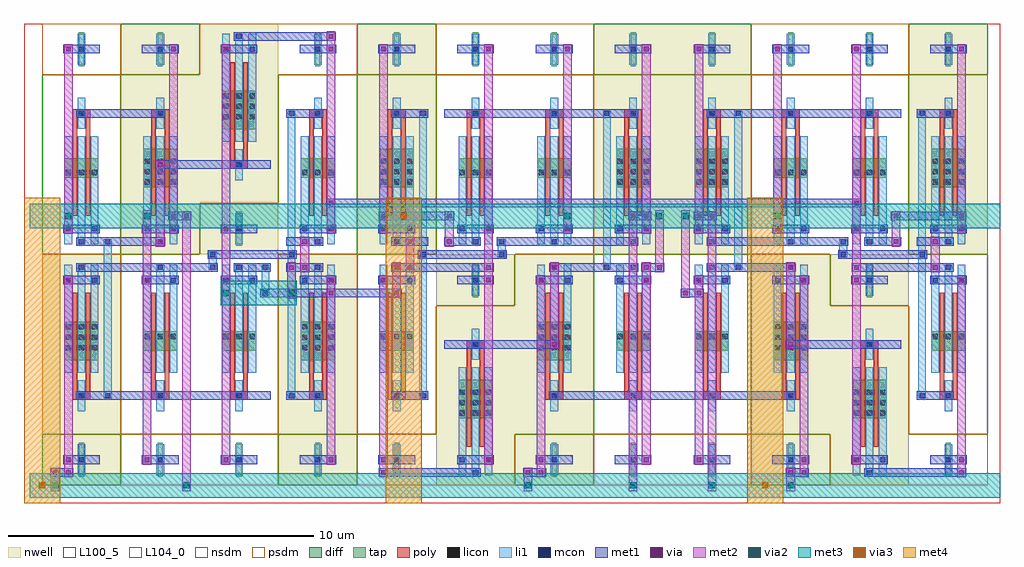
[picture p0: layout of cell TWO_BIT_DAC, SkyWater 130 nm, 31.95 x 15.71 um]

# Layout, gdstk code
import gdstk
lib = gdstk.Library(unit=1e-6, precision=1e-09)
def R(c, l, rs):  # rectangles x0, y0, x1, y1
    for r in rs: c.add(gdstk.rectangle(r[:2], r[2:], *l))
def A(c, l, x, y, w, h, nx, ny, dx, dy):  # array of equal rectangles
    R(c, l, [(x+i*dx, y+j*dy, x+i*dx+w, y+j*dy+h) for i in range(nx) for j in range(ny)])
nwell = (64, 20)
diff = (65, 20)
tap = (65, 44)
poly = (66, 20)
licon = (66, 44)
li1 = (67, 20)
mcon = (67, 44)
met1 = (68, 20)
via = (68, 44)
met2 = (69, 20)
via2 = (69, 44)
met3 = (70, 20)
via3 = (70, 44)
met4 = (71, 20)
nsdm = (93, 44)
psdm = (94, 20)
L100_5 = (100, 5)
L104_0 = (104, 0)

two_bit_dac = lib.new_cell('TWO_BIT_DAC')
R(two_bit_dac, nwell, [(0,0,2.58,7.56), (7.74,0,10.32,7.56), (12.9,0,15.48,7.56), (15.48,0,18.06,7.56), (23.22,0,25.8,7.56), (25.8,0,28.38,7.56), (2.58,7.56,5.16,15.12), (5.16,7.56,7.74,15.12), (10.32,7.56,12.9,15.12), (18.06,7.56,20.64,15.12), (20.64,7.56,23.22,15.12), (28.38,7.56,30.96,15.12)])
A(two_bit_dac, diff, 0.735, 4.095, 1.11, 1.26, 4, 1, 7.74, 0)
A(two_bit_dac, diff, 3.315, 9.765, 1.11, 1.26, 3, 1, 7.74, 0)
R(two_bit_dac, diff, [(13.635,2.205,14.745,3.465), (26.535,2.205,27.645,3.465), (3.315,4.41,4.425,5.04), (5.895,4.41,7.005,5.04), (11.055,4.41,12.165,5.04), (18.795,4.41,19.905,5.04), (21.375,4.41,22.485,5.04), (29.115,4.41,30.225,5.04), (21.375,9.765,22.485,11.025), (29.115,9.765,30.225,11.025), (0.735,10.08,1.845,10.71), (8.475,10.08,9.585,10.71), (13.635,10.08,14.745,10.71), (16.215,10.08,17.325,10.71), (23.955,10.08,25.065,10.71), (26.535,10.08,27.645,10.71), (5.895,11.655,7.005,12.915)])
A(two_bit_dac, tap, 1.205, 0.28, 0.17, 1.12, 5, 1, 2.58, 0)
A(two_bit_dac, tap, 16.685, 0.28, 0.17, 1.12, 4, 1, 2.58, 0)
A(two_bit_dac, tap, 8.945, 13.72, 0.17, 1.12, 9, 1, 2.58, 0)
R(two_bit_dac, tap, [(29.585,0.28,29.755,1.4), (14.105,6.16,14.275,7.28), (27.005,6.16,27.175,7.28), (6.365,7.84,6.535,8.96), (1.205,13.72,1.375,14.84), (3.785,13.72,3.955,14.84)])
A(two_bit_dac, poly, 1, 2.805, 0.58, 0.27, 5, 1, 2.58, 0)
A(two_bit_dac, poly, 16.48, 2.805, 0.58, 0.27, 4, 1, 2.58, 0)
A(two_bit_dac, poly, 8.74, 12.045, 0.58, 0.27, 9, 1, 2.58, 0)
R(two_bit_dac, poly, [(13.9,1.26,14.05,4.62), (14.33,1.26,14.48,4.62), (26.8,1.26,26.95,4.62), (27.23,1.26,27.38,4.62), (29.38,2.805,29.96,3.075), (1,2.94,1.15,6.3), (1.43,2.94,1.58,6.3), (3.58,2.94,3.73,6.3), (4.01,2.94,4.16,6.3), (6.16,2.94,6.31,6.3), (6.59,2.94,6.74,6.3), (8.74,2.94,8.89,6.3), (9.17,2.94,9.32,6.3), (11.32,2.94,11.47,6.3), (11.75,2.94,11.9,6.3), (16.48,2.94,16.63,6.3), (16.91,2.94,17.06,6.3), (19.06,2.94,19.21,6.3), (19.49,2.94,19.64,6.3), (21.64,2.94,21.79,6.3), (22.07,2.94,22.22,6.3), (24.22,2.94,24.37,6.3), (24.65,2.94,24.8,6.3), (29.38,2.94,29.53,6.3), (29.81,2.94,29.96,6.3), (13.9,4.485,14.48,4.755), (26.8,4.485,27.38,4.755), (1,8.82,1.15,12.18), (1.43,8.82,1.58,12.18), (3.58,8.82,3.73,12.18), (4.01,8.82,4.16,12.18), (8.74,8.82,8.89,12.18), (9.17,8.82,9.32,12.18), (11.32,8.82,11.47,12.18), (11.75,8.82,11.9,12.18), (13.9,8.82,14.05,12.18), (14.33,8.82,14.48,12.18), (16.48,8.82,16.63,12.18), (16.91,8.82,17.06,12.18), (19.06,8.82,19.21,12.18), (19.49,8.82,19.64,12.18), (21.64,8.82,21.79,12.18), (22.07,8.82,22.22,12.18), (24.22,8.82,24.37,12.18), (24.65,8.82,24.8,12.18), (26.8,8.82,26.95,12.18), (27.23,8.82,27.38,12.18), (29.38,8.82,29.53,12.18), (29.81,8.82,29.96,12.18), (6.16,10.365,6.74,10.635), (6.16,10.5,6.31,13.86), (6.59,10.5,6.74,13.86), (1,12.045,1.58,12.315), (3.58,12.045,4.16,12.315)])
A(two_bit_dac, licon, 1.205, 0.755, 0.17, 0.17, 5, 2, 2.58, 2.1)
A(two_bit_dac, licon, 16.685, 0.755, 0.17, 0.17, 4, 2, 2.58, 2.1)
A(two_bit_dac, licon, 13.675, 2.285, 0.17, 0.17, 3, 3, 0.43, 0.34)
A(two_bit_dac, licon, 26.575, 2.285, 0.17, 0.17, 3, 3, 0.43, 0.34)
A(two_bit_dac, licon, 0.775, 4.425, 0.17, 0.17, 3, 3, 0.43, 0.34)
A(two_bit_dac, licon, 8.515, 4.425, 0.17, 0.17, 3, 3, 0.43, 0.34)
A(two_bit_dac, licon, 16.255, 4.425, 0.17, 0.17, 3, 3, 0.43, 0.34)
A(two_bit_dac, licon, 23.995, 4.425, 0.17, 0.17, 3, 3, 0.43, 0.34)
A(two_bit_dac, licon, 3.355, 4.79, 0.17, 0.17, 3, 2, 0.43, 5.055)
A(two_bit_dac, licon, 5.935, 4.79, 0.17, 0.17, 3, 2, 0.43, 7.195)
A(two_bit_dac, licon, 11.095, 4.79, 0.17, 0.17, 3, 2, 0.43, 5.055)
A(two_bit_dac, licon, 18.835, 4.79, 0.17, 0.17, 3, 2, 0.43, 5.055)
A(two_bit_dac, licon, 21.415, 4.79, 0.17, 0.17, 3, 2, 0.43, 5.055)
A(two_bit_dac, licon, 29.155, 4.79, 0.17, 0.17, 3, 2, 0.43, 5.055)
A(two_bit_dac, licon, 0.775, 10.16, 0.17, 0.17, 3, 1, 0.43, 0)
A(two_bit_dac, licon, 8.515, 10.16, 0.17, 0.17, 3, 1, 0.43, 0)
A(two_bit_dac, licon, 13.675, 10.16, 0.17, 0.17, 3, 1, 0.43, 0)
A(two_bit_dac, licon, 16.255, 10.16, 0.17, 0.17, 3, 1, 0.43, 0)
A(two_bit_dac, licon, 23.995, 10.16, 0.17, 0.17, 3, 1, 0.43, 0)
A(two_bit_dac, licon, 26.575, 10.16, 0.17, 0.17, 3, 1, 0.43, 0)
A(two_bit_dac, licon, 3.355, 10.185, 0.17, 0.17, 3, 2, 0.43, 0.34)
A(two_bit_dac, licon, 11.095, 10.185, 0.17, 0.17, 3, 2, 0.43, 0.34)
A(two_bit_dac, licon, 18.835, 10.185, 0.17, 0.17, 3, 2, 0.43, 0.34)
A(two_bit_dac, licon, 21.415, 10.185, 0.17, 0.17, 3, 2, 0.43, 0.34)
A(two_bit_dac, licon, 29.155, 10.185, 0.17, 0.17, 3, 2, 0.43, 0.34)
A(two_bit_dac, licon, 8.945, 12.095, 0.17, 0.17, 9, 2, 2.58, 2.1)
A(two_bit_dac, licon, 5.935, 12.325, 0.17, 0.17, 3, 2, 0.43, 0.34)
R(two_bit_dac, licon, [(29.585,0.755,29.755,0.925), (29.585,2.855,29.755,3.025), (14.105,4.535,14.275,4.705), (27.005,4.535,27.175,4.705), (14.105,6.635,14.275,6.805), (27.005,6.635,27.175,6.805), (6.365,8.315,6.535,8.485), (6.365,10.415,6.535,10.585), (1.205,12.095,1.375,12.265), (3.785,12.095,3.955,12.265), (1.205,14.195,1.375,14.365), (3.785,14.195,3.955,14.365)])
A(two_bit_dac, li1, 1.165, 0.335, 0.25, 1.01, 5, 2, 2.58, 2.1)
A(two_bit_dac, li1, 13.635, 0.335, 0.25, 3.53, 3, 2, 0.43, 7.56)
A(two_bit_dac, li1, 16.645, 0.335, 0.25, 1.01, 4, 2, 2.58, 2.1)
A(two_bit_dac, li1, 26.535, 0.335, 0.25, 3.53, 3, 2, 0.43, 7.56)
A(two_bit_dac, li1, 0.735, 3.695, 0.25, 3.53, 3, 2, 0.43, 4.2)
A(two_bit_dac, li1, 3.315, 3.695, 0.25, 3.53, 3, 2, 0.43, 4.2)
A(two_bit_dac, li1, 5.895, 3.695, 0.25, 3.53, 3, 2, 0.43, 7.56)
A(two_bit_dac, li1, 8.475, 3.695, 0.25, 3.53, 3, 2, 0.43, 4.2)
A(two_bit_dac, li1, 11.055, 3.695, 0.25, 3.53, 3, 2, 0.43, 4.2)
A(two_bit_dac, li1, 16.215, 3.695, 0.25, 3.53, 3, 2, 0.43, 4.2)
A(two_bit_dac, li1, 18.795, 3.695, 0.25, 3.53, 3, 2, 0.43, 4.2)
A(two_bit_dac, li1, 21.375, 3.695, 0.25, 3.53, 3, 2, 0.43, 4.2)
A(two_bit_dac, li1, 23.955, 3.695, 0.25, 3.53, 3, 2, 0.43, 4.2)
A(two_bit_dac, li1, 29.115, 3.695, 0.25, 3.53, 3, 2, 0.43, 4.2)
A(two_bit_dac, li1, 8.905, 11.675, 0.25, 1.01, 9, 2, 2.58, 2.1)
R(two_bit_dac, li1, [(29.545,0.335,29.795,1.345), (29.545,2.435,29.795,3.445), (2.025,2.855,2.275,8.065), (8.045,2.855,8.295,12.265), (12.345,2.855,12.595,12.265), (28.685,2.855,28.935,12.265), (14.065,4.115,14.315,5.125), (26.965,4.115,27.215,5.125), (7.185,6.215,7.435,7.225), (14.065,6.215,14.315,7.225), (26.965,6.215,27.215,7.225), (5.465,7.055,5.715,7.645), (18.365,7.055,18.615,12.265), (22.665,7.055,22.915,12.265), (14.925,7.475,15.175,8.065), (26.105,7.475,26.355,8.065), (6.325,7.895,6.575,8.905), (6.325,9.995,6.575,11.005), (1.165,11.675,1.415,12.685), (3.745,11.675,3.995,12.685), (1.165,13.775,1.415,14.785), (3.745,13.775,3.995,14.785)])
A(two_bit_dac, mcon, 1.205, 0.755, 0.17, 0.17, 5, 1, 2.58, 0)
A(two_bit_dac, mcon, 16.685, 0.755, 0.17, 0.17, 4, 2, 2.58, 2.1)
A(two_bit_dac, mcon, 8.085, 2.855, 0.17, 0.17, 1, 3, 0, 4.62)
A(two_bit_dac, mcon, 12.385, 2.855, 0.17, 0.17, 1, 3, 0, 4.62)
A(two_bit_dac, mcon, 28.725, 2.855, 0.17, 0.17, 1, 3, 0, 4.62)
A(two_bit_dac, mcon, 11.955, 6.635, 0.17, 0.17, 3, 1, 2.15, 0)
A(two_bit_dac, mcon, 24.855, 6.635, 0.17, 0.17, 3, 1, 2.15, 0)
A(two_bit_dac, mcon, 5.505, 7.055, 0.17, 0.17, 3, 1, 0.86, 0)
A(two_bit_dac, mcon, 8.945, 7.895, 0.17, 0.17, 3, 1, 2.58, 0)
A(two_bit_dac, mcon, 16.685, 7.895, 0.17, 0.17, 4, 1, 2.58, 0)
A(two_bit_dac, mcon, 4.215, 8.315, 0.17, 0.17, 3, 1, 2.15, 0)
A(two_bit_dac, mcon, 8.945, 14.195, 0.17, 0.17, 9, 1, 2.58, 0)
R(two_bit_dac, mcon, [(14.105,0.335,14.275,0.505), (27.005,0.335,27.175,0.505), (13.675,0.755,13.845,0.925), (14.535,0.755,14.705,0.925), (26.575,0.755,26.745,0.925), (27.435,0.755,27.605,0.925), (29.585,0.755,29.755,0.925), (1.205,2.855,1.375,3.025), (2.065,2.855,2.235,3.025), (3.785,2.855,3.955,3.025), (6.365,2.855,6.535,3.025), (8.945,2.855,9.115,3.025), (11.525,2.855,11.695,3.025), (29.585,2.855,29.755,3.025), (14.105,4.535,14.275,4.705), (27.005,4.535,27.175,4.705), (7.225,6.215,7.395,6.385), (0.775,6.635,0.945,6.805), (1.635,6.635,1.805,6.805), (3.355,6.635,3.525,6.805), (4.215,6.635,4.385,6.805), (5.935,6.635,6.105,6.805), (6.795,6.635,6.965,6.805), (8.515,6.635,8.685,6.805), (9.375,6.635,9.545,6.805), (11.095,6.635,11.265,6.805), (17.115,6.635,17.285,6.805), (18.835,6.635,19.005,6.805), (19.695,6.635,19.865,6.805), (21.415,6.635,21.585,6.805), (22.275,6.635,22.445,6.805), (23.995,6.635,24.165,6.805), (30.015,6.635,30.185,6.805), (1.205,7.055,1.375,7.225), (3.785,7.055,3.955,7.225), (8.945,7.055,9.115,7.225), (11.525,7.055,11.695,7.225), (16.685,7.055,16.855,7.225), (18.405,7.055,18.575,7.225), (19.265,7.055,19.435,7.225), (21.845,7.055,22.015,7.225), (22.705,7.055,22.875,7.225), (24.425,7.055,24.595,7.225), (29.585,7.055,29.755,7.225), (5.505,7.475,5.675,7.645), (14.965,7.475,15.135,7.645), (26.145,7.475,26.315,7.645), (1.205,7.895,1.375,8.065), (2.065,7.895,2.235,8.065), (3.785,7.895,3.955,8.065), (14.965,7.895,15.135,8.065), (26.145,7.895,26.315,8.065), (27.005,7.895,27.175,8.065), (29.585,7.895,29.755,8.065), (0.775,8.315,0.945,8.485), (1.635,8.315,1.805,8.485), (3.355,8.315,3.525,8.485), (9.375,8.315,9.545,8.485), (11.095,8.315,11.265,8.485), (11.955,8.315,12.125,8.485), (13.675,8.315,13.845,8.485), (14.535,8.315,14.705,8.485), (16.255,8.315,16.425,8.485), (17.115,8.315,17.285,8.485), (18.835,8.315,19.005,8.485), (19.695,8.315,19.865,8.485), (21.415,8.315,21.585,8.485), (22.275,8.315,22.445,8.485), (23.995,8.315,24.165,8.485), (24.855,8.315,25.025,8.485), (26.575,8.315,26.745,8.485), (27.435,8.315,27.605,8.485), (29.155,8.315,29.325,8.485), (30.015,8.315,30.185,8.485), (6.365,10.415,6.535,10.585), (1.205,12.095,1.375,12.265), (3.785,12.095,3.955,12.265), (8.945,12.095,9.115,12.265), (11.525,12.095,11.695,12.265), (14.105,12.095,14.275,12.265), (16.685,12.095,16.855,12.265), (18.405,12.095,18.575,12.265), (19.265,12.095,19.435,12.265), (21.845,12.095,22.015,12.265), (22.705,12.095,22.875,12.265), (24.425,12.095,24.595,12.265), (27.005,12.095,27.175,12.265), (29.585,12.095,29.755,12.265), (1.205,14.195,1.375,14.365), (3.785,14.195,3.955,14.365), (5.935,14.195,6.105,14.365), (6.795,14.195,6.965,14.365), (6.365,14.615,6.535,14.785)])
A(two_bit_dac, met1, 0.69, 0.7, 1.2, 0.28, 12, 2, 2.58, 5.88)
A(two_bit_dac, met1, 0.69, 8.26, 1.2, 0.28, 12, 2, 2.58, 5.88)
R(two_bit_dac, met1, [(0.27,0.28,1.02,0.56), (11.02,0.28,14.36,0.56), (15.75,0.28,16.5,0.56), (24.35,0.28,25.1,0.56), (26.92,0.28,30.26,0.56), (1.12,2.8,7.48,3.08), (8,2.8,9.2,3.08), (11.44,2.8,12.64,3.08), (16.6,2.8,24.68,3.08), (28.64,2.8,29.84,3.08), (13.16,4.48,16.93,4.76), (24.35,4.48,28.12,4.76), (7.14,6.16,11.77,6.44), (20.91,6.16,21.66,6.44), (1.12,7,5.76,7.28), (6.28,7,7.48,7.28), (8,7,9.2,7.28), (11.44,7,14.78,7.28), (16.6,7,19.52,7.28), (19.62,7,20.37,7.28), (21.76,7,24.68,7.28), (26.5,7,29.84,7.28), (5.42,7.42,8.34,7.7), (12.3,7.42,15.22,7.7), (26.06,7.42,28.98,7.7), (1.12,7.84,4.04,8.12), (8,7.84,9.2,8.12), (11.44,7.84,12.64,8.12), (13.16,7.84,14.36,8.12), (14.88,7.84,19.52,8.12), (21.76,7.84,26.4,8.12), (26.92,7.84,28.12,8.12), (28.64,7.84,29.84,8.12), (4.14,8.68,4.89,8.96), (11.02,8.68,13.49,8.96), (19.19,8.68,19.94,8.96), (21.34,8.68,22.09,8.96), (27.79,8.68,30.26,8.96), (9.3,9.1,26.82,9.38), (3.71,10.36,7.48,10.64), (1.12,12.04,4.04,12.32), (8,12.04,9.2,12.32), (11.44,12.04,12.64,12.32), (13.16,12.04,19.52,12.32), (21.76,12.04,28.12,12.32), (28.64,12.04,29.84,12.32), (6.28,14.56,9.62,14.84)])
A(two_bit_dac, via, 0.785, 0.765, 0.15, 0.15, 3, 2, 2.58, 5.88)
A(two_bit_dac, via, 14.545, 8.325, 0.15, 0.15, 3, 2, 2.58, 5.88)
A(two_bit_dac, via, 21.425, 8.325, 0.15, 0.15, 3, 2, 2.58, 5.88)
R(two_bit_dac, via, [(0.355,0.345,0.505,0.495), (0.785,0.345,0.935,0.495), (11.105,0.345,11.255,0.495), (15.835,0.345,15.985,0.495), (16.265,0.345,16.415,0.495), (24.435,0.345,24.585,0.495), (24.865,0.345,25.015,0.495), (30.025,0.345,30.175,0.495), (9.385,0.765,9.535,0.915), (11.105,0.765,11.255,0.915), (14.545,0.765,14.695,0.915), (16.265,0.765,16.415,0.915), (19.705,0.765,19.855,0.915), (21.425,0.765,21.575,0.915), (24.865,0.765,25.015,0.915), (26.585,0.765,26.735,0.915), (30.025,0.765,30.175,0.915), (16.695,4.545,16.845,4.695), (24.435,4.545,24.585,4.695), (9.385,6.225,9.535,6.375), (11.535,6.225,11.685,6.375), (20.995,6.225,21.145,6.375), (21.425,6.225,21.575,6.375), (9.385,6.645,9.535,6.795), (11.105,6.645,11.255,6.795), (14.545,6.645,14.695,6.795), (16.265,6.645,16.415,6.795), (19.705,6.645,19.855,6.795), (21.425,6.645,21.575,6.795), (24.865,6.645,25.015,6.795), (26.585,6.645,26.735,6.795), (30.025,6.645,30.175,6.795), (8.095,7.065,8.245,7.215), (8.525,7.065,8.675,7.215), (11.535,7.065,11.685,7.215), (11.965,7.065,12.115,7.215), (14.545,7.065,14.695,7.215), (16.695,7.065,16.845,7.215), (19.705,7.065,19.855,7.215), (20.135,7.065,20.285,7.215), (24.435,7.065,24.585,7.215), (26.585,7.065,26.735,7.215), (29.165,7.065,29.315,7.215), (3.795,7.905,3.945,8.055), (8.525,7.905,8.675,8.055), (11.965,7.905,12.115,8.055), (13.255,7.905,13.405,8.055), (27.875,7.905,28.025,8.055), (29.165,7.905,29.315,8.055), (0.785,8.325,0.935,8.475), (4.225,8.325,4.375,8.475), (5.945,8.325,6.095,8.475), (9.385,8.325,9.535,8.475), (11.105,8.325,11.255,8.475), (30.025,8.325,30.175,8.475), (4.225,8.745,4.375,8.895), (4.655,8.745,4.805,8.895), (11.105,8.745,11.255,8.895), (13.255,8.745,13.405,8.895), (19.275,8.745,19.425,8.895), (19.705,8.745,19.855,8.895), (21.425,8.745,21.575,8.895), (21.855,8.745,22.005,8.895), (27.875,8.745,28.025,8.895), (30.025,8.745,30.175,8.895), (9.385,9.165,9.535,9.315), (26.585,9.165,26.735,9.315), (3.795,10.425,3.945,10.575), (0.785,14.205,0.935,14.355), (4.225,14.205,4.375,14.355), (5.945,14.205,6.095,14.355), (9.385,14.205,9.535,14.355), (11.105,14.205,11.255,14.355), (30.025,14.205,30.175,14.355), (9.385,14.625,9.535,14.775)])
R(two_bit_dac, met2, [(0.29,-0.185,0.57,0.58), (4.59,-0.185,4.87,8.98), (15.77,-0.185,16.05,0.58), (19.21,-0.185,19.49,8.98), (21.79,-0.185,22.07,8.98), (24.37,-0.185,24.65,0.58), (0.72,0.26,1,6.88), (11.04,0.26,11.32,6.88), (16.2,0.26,16.48,6.88), (24.8,0.26,25.08,6.88), (29.96,0.26,30.24,6.88), (3.3,0.68,3.58,9.005), (5.88,0.68,6.16,14.44), (9.32,0.68,9.6,6.88), (14.48,0.68,14.76,14.44), (19.64,0.68,19.92,7.3), (21.36,0.68,21.64,6.88), (26.52,0.68,26.8,14.44), (16.63,4.46,16.91,7.3), (24.37,4.46,24.65,7.3), (8.03,6.115,8.31,7.3), (11.47,6.14,11.75,7.3), (20.93,6.14,21.21,9.005), (8.46,6.98,8.74,8.14), (11.9,6.98,12.18,8.14), (20.07,6.98,20.35,9.005), (29.1,6.98,29.38,8.14), (3.73,7.82,4.01,10.66), (13.19,7.82,13.47,8.98), (27.81,7.82,28.09,8.98), (0.72,8.24,1,14.44), (4.16,8.24,4.44,14.44), (9.32,8.24,9.6,14.86), (11.04,8.24,11.32,14.44), (17.06,8.24,17.34,14.44), (19.64,8.24,19.92,14.44), (21.36,8.24,21.64,14.44), (23.94,8.24,24.22,14.44), (29.96,8.24,30.24,14.44)])
A(two_bit_dac, via2, 19.25, -0.1, 0.2, 0.2, 3, 1, 2.58, 0)
R(two_bit_dac, via2, [(0.33,-0.1,0.53,0.1), (4.63,-0.1,4.83,0.1), (15.81,-0.1,16.01,0.1), (5.92,6.2,6.12,6.4), (8.07,6.2,8.27,6.4), (0.76,8.72,0.96,8.92), (3.34,8.72,3.54,8.92), (17.1,8.72,17.3,8.92), (20.11,8.72,20.31,8.92), (20.97,8.72,21.17,8.92), (23.98,8.72,24.18,8.92)])
R(two_bit_dac, met3, [(-0.4,-0.4,31.36,0.4), (5.855,5.9,8.335,6.7), (-0.4,8.42,31.36,9.22)])
R(two_bit_dac, via3, [(-0.1,-0.1,0.1,0.1), (23.58,-0.1,23.78,0.1), (11.74,8.72,11.94,8.92)])
A(two_bit_dac, met4, -0.59, -0.59, 1.18, 10, 3, 1, 11.84, 0)
A(two_bit_dac, nsdm, 0, 0, 2.58, 1.68, 4, 1, 7.74, 0)
A(two_bit_dac, nsdm, 2.58, 13.44, 2.58, 1.68, 3, 1, 7.74, 0)
R(two_bit_dac, nsdm, [(2.58,1.68,5.16,7.56), (5.16,1.68,7.74,7.56), (10.32,1.68,12.9,7.56), (18.06,1.68,20.64,7.56), (20.64,1.68,23.22,7.56), (28.38,1.68,30.96,7.56), (12.9,5.88,15.48,7.56), (25.8,5.88,28.38,7.56), (0,7.56,2.58,13.44), (5.16,7.56,7.74,9.24), (7.74,7.56,10.32,13.44), (12.9,7.56,15.48,13.44), (15.48,7.56,18.06,13.44), (23.22,7.56,25.8,13.44), (25.8,7.56,28.38,13.44), (20.64,13.44,23.22,15.12), (28.38,13.44,30.96,15.12)])
A(two_bit_dac, psdm, 0, 1.68, 2.58, 5.88, 4, 1, 7.74, 0)
A(two_bit_dac, psdm, 2.58, 7.56, 2.58, 5.88, 3, 1, 7.74, 0)
R(two_bit_dac, psdm, [(2.58,0,5.16,1.68), (5.16,0,7.74,1.68), (10.32,0,12.9,1.68), (12.9,0,15.48,5.88), (18.06,0,20.64,1.68), (20.64,0,23.22,1.68), (25.8,0,28.38,5.88), (28.38,0,30.96,1.68), (20.64,7.56,23.22,13.44), (28.38,7.56,30.96,13.44), (5.16,9.24,7.74,15.12), (0,13.44,2.58,15.12), (7.74,13.44,10.32,15.12), (12.9,13.44,15.48,15.12), (15.48,13.44,18.06,15.12), (23.22,13.44,25.8,15.12), (25.8,13.44,28.38,15.12)])
R(two_bit_dac, L100_5, [(-0.59,-0.59,31.36,15.12)])
R(two_bit_dac, L104_0, [(-0.59,-0.59,31.36,15.12)])

lib.write_gds('TWO_BIT_DAC.gds')
